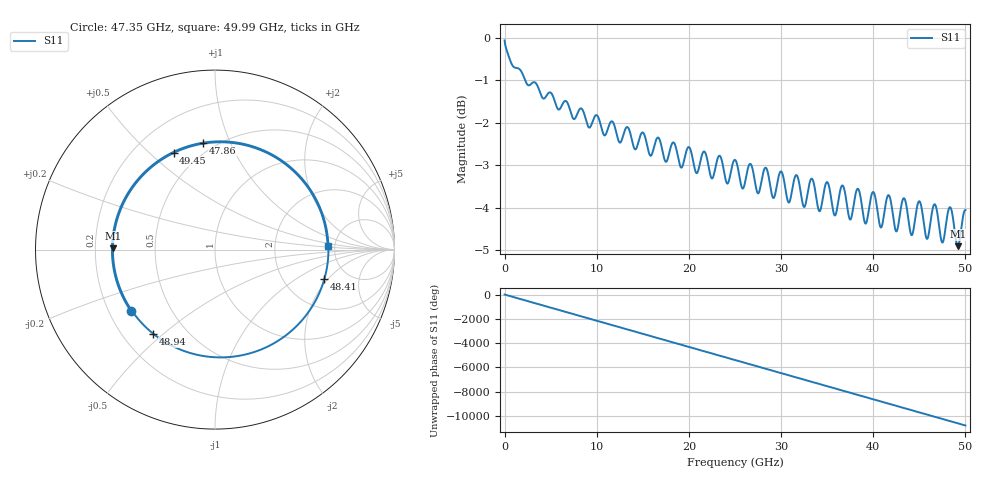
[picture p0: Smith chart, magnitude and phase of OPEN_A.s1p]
! Mesure 1 port : Fixture A synthetique : ligne Zc=55.0 ohm, delai=300 ps, pertes 1.0 dB @10 GHz (~sqrt(f)), eps_r_eff=3.0 -> 51.93 mm, Z0=50 ohm terminee par un OPEN ideal
! Frequency(Hz) Re(S11) Im(S11)
# Hz S RI R 50
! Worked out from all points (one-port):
!   5000 points, 10 MHz to 50 GHz, reference 50 ohm
!   lowest |S11| = -4.9 dB at 49.17 GHz (marker M1), VSWR 3.64, Z = 13.7 + j0.324 ohm
!   |S11| at or under -10 dB: nowhere
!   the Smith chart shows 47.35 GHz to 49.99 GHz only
!   S11 on the Smith chart (normalised r, x): 47.35 GHz: 0.29, -0.30; 47.86 GHz: 0.43, +0.80; 48.41 GHz: 3.37, -1.82; 48.94 GHz: 0.33, -0.46; 49.45 GHz: 0.36, +0.60; 49.99 GHz: 4.34, +0.30
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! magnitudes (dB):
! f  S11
! 10 MHz  -0.1
! 6.26 GHz  -1.6
! 12.51 GHz  -2.5
! 18.76 GHz  -2.7
! 25.01 GHz  -2.9
! 31.26 GHz  -3.5
! 34.18 GHz  -4.1
! 35.02 GHz  -3.4
! 35.84 GHz  -4.2
! 36.68 GHz  -3.5
! 37.51 GHz  -4.3
! 38.32 GHz  -3.5
! 39.16 GHz  -4.4
! 39.98 GHz  -3.6
! 40.82 GHz  -4.5
! 41.64 GHz  -3.7
! 43.76 GHz  -4.2
! 45.04 GHz  -3.8
! 45.85 GHz  -4.7
! 46.69 GHz  -3.9
! 47.35 GHz  -4.7
! 47.86 GHz  -4.4
! 48.41 GHz  -4.0
! 48.94 GHz  -4.7
! 49.17 GHz  -4.9
! 49.45 GHz  -4.6
! 49.99 GHz  -4.0
! 50 GHz  -4.0
